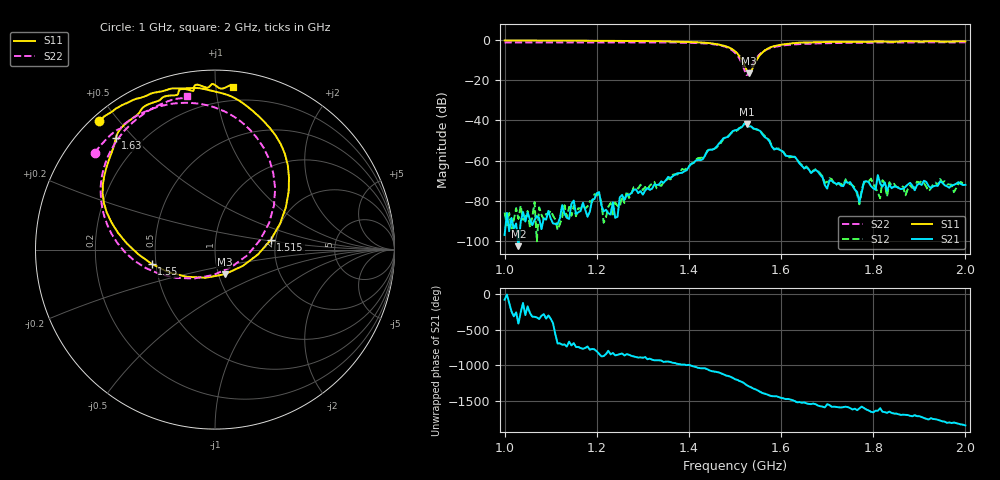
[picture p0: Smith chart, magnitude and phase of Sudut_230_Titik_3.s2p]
# Hz S RI R 50
! CMT, C1220, 16058040, 17.2.0/1
! Date: 14/08/2018 12:40:05
! Data: Format (Calibration Info)
! Freq  S11: Re/Im (F2)  S21: Re/Im (F2)  S12: Re/Im (F2)  S22: Re/Im (F2)
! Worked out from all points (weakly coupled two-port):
!   201 points, 1 GHz to 2 GHz, reference 50 ohm
!   highest |S21| = -41.77 dB at 1.525 GHz (marker M1); lowest = -102.6 dB at 1.03 GHz (marker M2)
!   lowest |S11| = -16.6 dB at 1.53 GHz (marker M3), VSWR 1.35, Z = 53.6 - j15 ohm
!   |S11| at or under -10 dB: 1.515 GHz to 1.547 GHz (32.05 MHz wide, 2.09 % of centre)
!   |S22| runs from -17.5 to -1.2 dB; largest |S21 - S12| = 0.00036
!   S11 on the Smith chart (normalised r, x): 1 GHz: 0.02, +0.44; 1.515 GHz: 1.88, +0.23; 1.55 GHz: 0.47, -0.09; 1.63 GHz: 0.11, +0.44; 2 GHz: 0.10, +1.11
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1e9  -0.648 0.7142  3.65e-06 -1.37e-05  -4.99e-05 -1.14e-05  -0.6704 0.5404
1.03e9  -0.6233 0.7367  4.67e-06 -5.79e-06  -3.44e-05 -8.42e-06  -0.6543 0.5602
1.17e9  -0.4763 0.8235  6.39e-05 -6.22e-05  5.95e-05 -5.26e-05  -0.5584 0.6579
1.335e9  -0.2147 0.8975  -0.000226 0.000113  -0.000191 0.000155  -0.3739 0.7753
1.45e9  0.1859 0.7928  0.00186 -2.02e-05  0.00183 -9.92e-05  0.0172 0.7849
1.5e9  0.4104 0.3232  -0.00221 -0.00519  -0.0021 -0.00487  0.3352 0.3409
1.515e9  0.3109 0.0545  -0.00595 -0.00327  -0.00592 -0.00344  0.2513 0.0537
1.525e9  0.154 -0.0914  -0.00783 0.00229  -0.00785 0.00222  0.0905 -0.0976
1.53e9  0.0547 -0.1372  -0.00587 0.00384  -0.0059 0.00385  -0.0102 -0.1417
1.55e9  -0.352 -0.0803  0.000368 0.00577  0.000128 0.0058  -0.3854 -0.1031
1.63e9  -0.5524 0.6222  0.000575 -0.0011  0.000624 -0.00104  -0.6153 0.4661
1.67e9  -0.4376 0.7477  -6.41e-05 -0.000545  -8.3e-05 -0.000558  -0.5629 0.5828
1.7e9  -0.3957 0.7963  -5.47e-05 -0.000193  -0.000131 -0.000263  -0.5237 0.6393
1.75e9  -0.29 0.8488  -0.000272 -9.65e-05  -0.000258 -2.87e-05  -0.4586 0.7084
1.77e9  -0.237 0.859  -9.02e-05 -2.5e-05  -7.78e-05 -2.48e-05  -0.4346 0.7287
1.78e9  -0.2139 0.861  -0.00028 -0.000104  -0.000258 -0.000109  -0.422 0.7383
1.815e9  -0.182 0.8954  -0.000254 -8.61e-05  0.000101 -5.53e-05  -0.3797 0.7679
1.82e9  -0.1695 0.8947  -0.000193 0.000114  -0.000323 3.75e-05  -0.3736 0.7712
1.83e9  -0.142 0.8883  -0.000123 0.000131  -7.68e-05 0.0001  -0.3618 0.7785
1.835e9  -0.1306 0.885  -0.000218 0.000125  -0.000146 0.000249  -0.3561 0.782
1.87e9  -0.1061 0.9183  -5.69e-05 0.000215  -3.8e-05 0.000131  -0.3139 0.8042
2e9  0.1027 0.9078  0.000178 -0.000173  0.000185 -0.000217  -0.1562 0.8541
